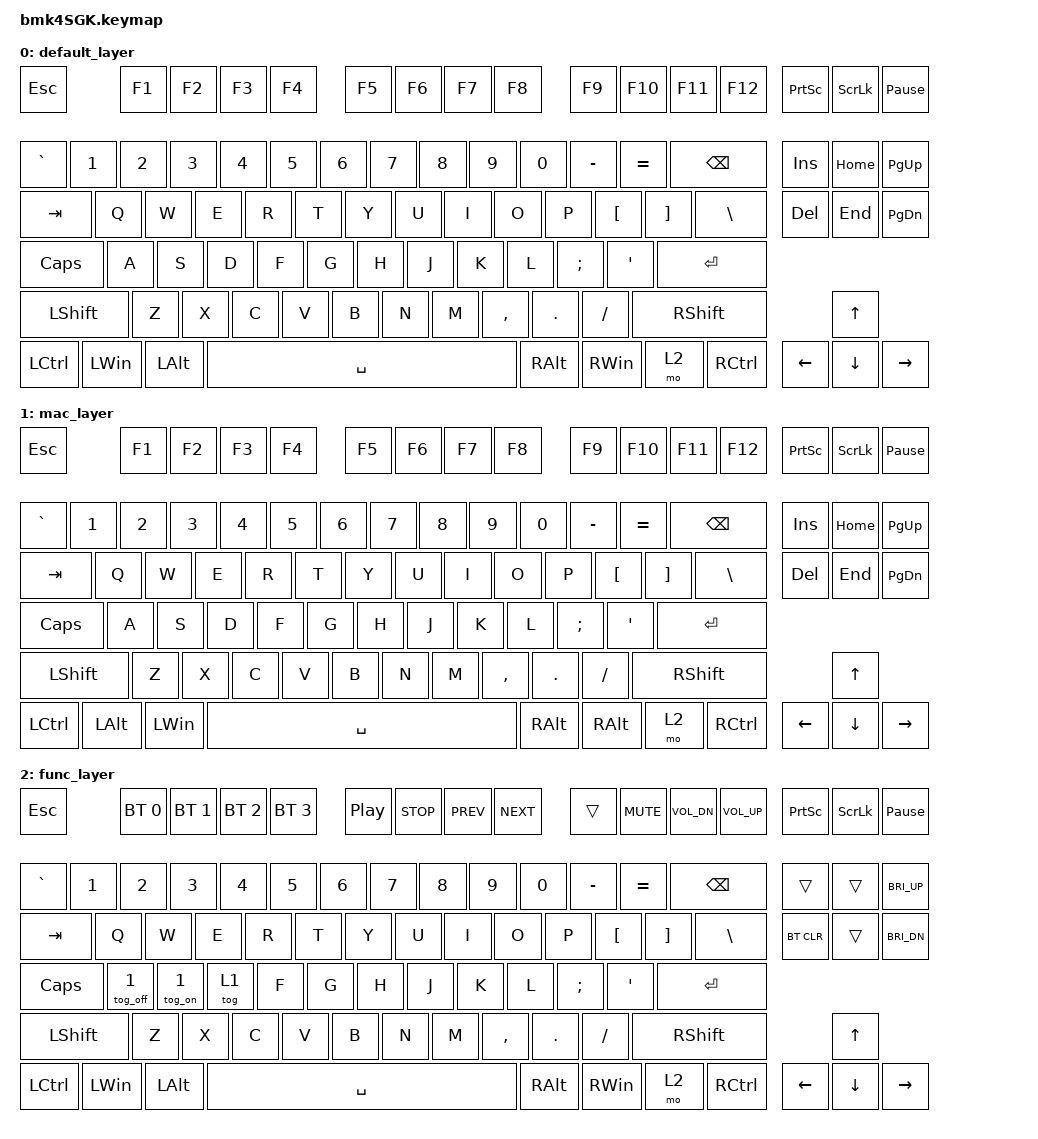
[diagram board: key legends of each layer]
/*
 * Copyright (c) 2021 
 *
 * SPDX-License-Identifier: MIT
 */

 #include <behaviors.dtsi>
 #include <dt-bindings/zmk/keys.h>
 //#include <dt-bindings/zmk/rgb.h>
 #include <dt-bindings/zmk/bt.h>
 #include <dt-bindings/zmk/outputs.h>
 
 / {
	 keymap {
		 //compatible = "zmk,behavior-layer-toggle";
		 compatible = "zmk,keymap";

		 default_layer {
 // ------------------------------------------------------------------------------------------------------------------------------------------------------------------------------
 // |   ESC  | |   F1  |   F2  |   F3   |   F4   | |   F5   |   F6   |   F7   |   F8   | |   F9   |    F10   |    F11  |    F12   |                   | PRTSC  |SCROLLLK|  PSBR  |
 // |   ~ |   1   |   2   |    3   |    4   |    5   |    6   |    7   |    8   |    9   |    0   |    -   |    +    |       BS   |                   | INSERT |  HOME  |  PGUP  |
 // |   TAB   |   Q   |   W   |    E   |    R   |    T   |    Y   |    U   |    I   |    O   |    P   |    [   |    ]   |    \    |                   | DELETE |  END   |  PGDN  |
 // |  CAPS     |   A   |   S   |    D   |    F   |    G   |    H   |    J   |    K   |    L   |    ;   |    '   |       ENT      |
 // |   STF        |   Z   |   X   |    C   |    V   |    B   |    N   |    M   |    ,   |    .   |    /   |          SFT         |                            |    UP  |  
 // |   CTL   |  WIN   |  ALT   |                         |   sp   |                   |   ALT   |   WIN    |   MO(2)   |   CTL   |                   |  left  |   down |  right |
 // ------------------------------------------------------------------------------------------------------------------------------------------------------------------------------
			 bindings = < 
	 &kp ESC &kp F1 &kp F2 &kp F3 &kp F4 &kp F5 &kp F6  &kp F7 &kp F8 &kp F9 &kp F10 &kp F11 &kp F12 &kp PSCRN &kp SLCK &kp PAUSE_BREAK
	 &kp GRAVE &kp N1 &kp N2 &kp N3 &kp N4 &kp N5 &kp N6  &kp N7 &kp N8 &kp N9 &kp N0 &kp MINUS &kp EQUAL &kp BSPC &kp INS &kp HOME &kp PG_UP
	 &kp TAB &kp Q &kp W &kp E &kp R &kp T &kp Y &kp U &kp I &kp O &kp P &kp LBKT &kp RBKT &kp BSLH &kp DEL &kp END &kp PG_DN
	 &kp CAPSLOCK &kp A &kp S &kp D &kp F &kp G &kp H &kp J &kp K &kp L &kp SEMI &kp SQT &kp ENTER 
	 &kp LSHFT &kp Z &kp X &kp C &kp V &kp B &kp N &kp M &kp COMMA &kp PERIOD &kp FSLH &kp RSHFT &kp UP
	 &kp LCTRL &kp LWIN &kp LALT &kp SPACE &kp RALT &kp RWIN &mo 2  &kp RCTRL  &kp LEFT  &kp DOWN &kp RIGHT
			 >;
		 };
 
		 mac_layer {
			// ------------------------------------------------------------------------------------------------------------------------------------------------------------------------------
			// |   ESC  | |   F1  |   F2  |   F3   |   F4   | |   F5   |   F6   |   F7   |   F8   | |   F9   |    F10   |    F11  |    F12   |                   | PRTSC  |SCROLLLK|  PSBR  |
			// |   ~ |   1   |   2   |    3   |    4   |    5   |    6   |    7   |    8   |    9   |    0   |    -   |    +    |       BS   |                   | INSERT |  HOME  |  PGUP  |
			// |   TAB   |   Q   |   W   |    E   |    R   |    T   |    Y   |    U   |    I   |    O   |    P   |    [   |    ]   |    \    |                   | DELETE |  END   |  PGDN  |
			// |  CAPS     |   A   |   S   |    D   |    F   |    G   |    H   |    J   |    K   |    L   |    ;   |    '   |       ENT      |
			// |   STF        |   Z   |   X   |    C   |    V   |    B   |    N   |    M   |    ,   |    .   |    /   |          SFT         |                            |    UP  |  
			// |   CTL   |  WIN   |  ALT   |                         |   sp   |                   |   ALT   |   WIN    |   MO(2)   |   CTL   |                   |  left  |   down |  right |
			// ------------------------------------------------------------------------------------------------------------------------------------------------------------------------------
						bindings = < 
				&kp ESC &kp F1 &kp F2 &kp F3 &kp F4 &kp F5 &kp F6  &kp F7 &kp F8 &kp F9 &kp F10 &kp F11 &kp F12 &kp PSCRN &kp SLCK &kp PAUSE_BREAK
				&kp GRAVE &kp N1 &kp N2 &kp N3 &kp N4 &kp N5 &kp N6  &kp N7 &kp N8 &kp N9 &kp N0 &kp MINUS &kp EQUAL &kp BSPC &kp INS &kp HOME &kp PG_UP
				&kp TAB &kp Q &kp W &kp E &kp R &kp T &kp Y &kp U &kp I &kp O &kp P &kp LBKT &kp RBKT &kp BSLH &kp DEL &kp END &kp PG_DN
				&kp CAPSLOCK &kp A &kp S &kp D &kp F &kp G &kp H &kp J &kp K &kp L &kp SEMI &kp SQT &kp ENTER 
				&kp LSHFT &kp Z &kp X &kp C &kp V &kp B &kp N &kp M &kp COMMA &kp PERIOD &kp FSLH &kp RSHFT &kp UP
				&kp LCTRL &kp LALT &kp LWIN &kp SPACE &kp RALT &kp RALT &mo 2 &kp RCTRL  &kp LEFT  &kp DOWN &kp RIGHT
						>;
					};

		 func_layer {
			// ------------------------------------------------------------------------------------------------------------------------------------------------------------------------------
			// |   ESC  | |  BT1  |  BT2  |   BT3  |   BT4  | |  Play  |  Stop  |   Pre  |  Next  | |        |   Mute  |  Vol Dn  |  Vol Up  |                   | PRTSC  |SCROLLLK|  PSBR  |
			// |   ~ |   1   |   2   |    3   |    4   |    5   |    6   |    7   |    8   |    9   |    0   |    -   |    +    |       BS   |                   |        |        | Inc Bri|
			// |   TAB   |  Q    |   W  |    E   |    R   |    T   |    Y   |    U   |    I   |    O   |    P   |    [   |    ]   |    \    |                   | BT CLR |        | Dec Bri|
			// |  CAPS     |win_layer|mac_layer|    D   |    F   |    G   |    H   |    J   |    K   |    L   |    ;   |    '   |       ENT      |
			// |   STF        |   Z   |   X   |    C   |    V   |    B   |    N   |    M   |    ,   |    .   |    /   |          SFT         |                            |    UP  |  
			// |   CTL   |  WIN   |  ALT   |                         |   sp   |                   |   ALT   |   WIN    |   MO(2)   |   CTL   |                   |  left  |   down |  right |
			// ------------------------------------------------------------------------------------------------------------------------------------------------------------------------------
			 bindings = <
	 &kp ESC &bt BT_SEL 0  &bt BT_SEL 1 &bt BT_SEL 2 &bt BT_SEL 3 &kp C_PP &kp C_STOP  &kp C_PREV &kp C_NEXT &trans &kp C_MUTE &kp C_VOL_DN &kp C_VOL_UP &kp PSCRN &kp SLCK &kp PAUSE_BREAK
	 &kp GRAVE &kp N1 &kp N2 &kp N3 &kp N4 &kp N5 &kp N6  &kp N7 &kp N8 &kp N9 &kp N0 &kp MINUS &kp EQUAL &kp BSPC &trans &trans &kp C_BRI_UP
	 &kp TAB &kp Q &kp W &kp E &kp R &kp T &kp Y &kp U &kp I &kp O &kp P &kp LBKT &kp RBKT &kp BSLH &bt BT_CLR &trans &kp C_BRI_DN
	 &kp CAPSLOCK &tog_off 1 &tog_on 1 &tog 1 &kp F &kp G &kp H &kp J &kp K &kp L &kp SEMI &kp SQT &kp ENTER 
	 &kp LSHFT &kp Z &kp X &kp C &kp V &kp B &kp N &kp M &kp COMMA &kp PERIOD &kp FSLH &kp RSHFT &kp UP 
	 &kp LCTRL &kp LWIN &kp LALT &kp SPACE &kp  RALT &kp RWIN &mo 2  &kp RCTRL &kp LEFT  &kp DOWN &kp RIGHT
			 >;
		 };

		extra1 {
            status = "reserved";
        };

        extra2 {
            status = "reserved";
		};
 
	 };

	 behaviors {
        tog_on: toggle_layer_on_only {
            compatible = "zmk,behavior-toggle-layer";
            #binding-cells = <1>;
            display-name = "Toggle Layer On";
            toggle-mode = "on";
        };

		tog_off: toggle_layer_off_only {
            compatible = "zmk,behavior-toggle-layer";
            #binding-cells = <1>;
            display-name = "Toggle Layer Off";
            toggle-mode = "off";
        };
    };

 };
 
